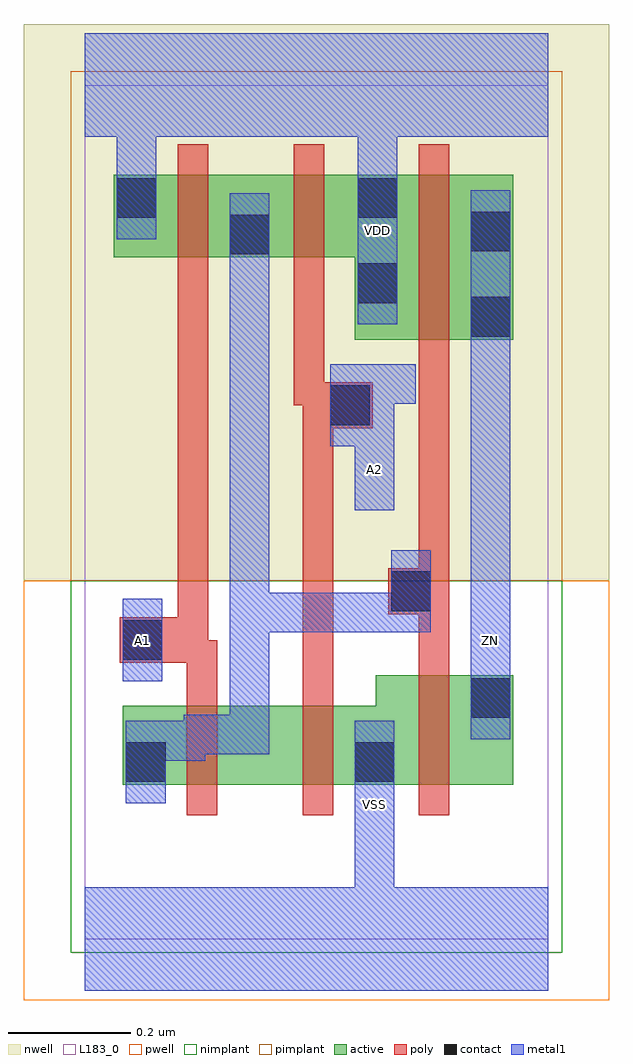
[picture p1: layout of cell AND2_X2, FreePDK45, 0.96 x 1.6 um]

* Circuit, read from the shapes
.subckt AND2_X2 A1 A2 VDD VSS ZN
M1 n1 A1 n2 VSUBS nfet w=0.13u l=0.05u
M2 VSS A2 n1 VSUBS nfet w=0.13u l=0.05u
M3 ZN n2 VSS VSUBS nfet w=0.18u l=0.05u
M4 n2 A1 VDD n3 pfet w=0.135u l=0.05u
M5 VDD A2 n2 n3 pfet w=0.135u l=0.05u
M6 ZN n2 VDD n3 pfet w=0.27u l=0.05u
.ends

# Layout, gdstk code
import gdstk
lib = gdstk.Library(unit=1e-6, precision=1e-10)
def R(c, l, rs):  # rectangles x0, y0, x1, y1
    for r in rs: c.add(gdstk.rectangle(r[:2], r[2:], *l))
def P(c, l, *ps):  # polygons
    for p in ps: c.add(gdstk.Polygon(p, *l))
active = (1, 0)
pwell = (2, 0)
nwell = (3, 0)
nimplant = (4, 0)
pimplant = (5, 0)
poly = (9, 0)
contact = (10, 0)
metal1 = (11, 0)
L183_0 = (183, 0)

and2_x2 = lib.new_cell('AND2_X2')
P(and2_x2, active, [(0.0625,0.2525),(0.1675,0.2525),(0.2175,0.2525),(0.3575,0.2525),(0.4075,0.2525),(0.5475,0.2525),(0.5975,0.2525),(0.7025,0.2525),(0.7025,0.4325),(0.5975,0.4325),(0.5475,0.4325),(0.4775,0.4325),(0.4775,0.3825),(0.4075,0.3825),(0.3575,0.3825),(0.2175,0.3825),(0.1675,0.3825),(0.0625,0.3825)],
  [(0.0475,1.1175),(0.1525,1.1175),(0.2025,1.1175),(0.3425,1.1175),(0.3925,1.1175),(0.4425,1.1175),(0.4425,0.9825),(0.5475,0.9825),(0.5975,0.9825),(0.7025,0.9825),(0.7025,1.2525),(0.5975,1.2525),(0.5475,1.2525),(0.3925,1.2525),(0.3425,1.2525),(0.2025,1.2525),(0.1525,1.2525),(0.0475,1.2525)])
P(and2_x2, pwell, [(-0.1,-0.1),(0.86,-0.1),(0.86,0.5875),(0.66,0.5875),(0.1,0.5875),(-0.1,0.5875)])
P(and2_x2, nwell, [(-0.1,0.5875),(0.1,0.5875),(0.66,0.5875),(0.86,0.5875),(0.86,1.5),(-0.1,1.5)])
R(and2_x2, nimplant, [(-0.0225,-0.0225,0.7825,0.5875)])
R(and2_x2, pimplant, [(-0.0225,0.5875,0.7825,1.4225)])
P(and2_x2, poly, [(0.0575,0.4525),(0.1675,0.4525),(0.1675,0.3825),(0.1675,0.2525),(0.1675,0.2025),(0.2175,0.2025),(0.2175,0.2525),(0.2175,0.3825),(0.2175,0.49),(0.2025,0.49),(0.2025,1.1175),(0.2025,1.2525),(0.2025,1.3025),(0.1525,1.3025),(0.1525,1.2525),(0.1525,1.1175),(0.1525,0.5275),(0.0575,0.5275)],
  [(0.3425,0.875),(0.3575,0.875),(0.3575,0.3825),(0.3575,0.2525),(0.3575,0.2025),(0.4075,0.2025),(0.4075,0.2525),(0.4075,0.3825),(0.4075,0.8375),(0.4725,0.8375),(0.4725,0.9125),(0.3925,0.9125),(0.3925,1.1175),(0.3925,1.2525),(0.3925,1.3025),(0.3425,1.3025),(0.3425,1.2525),(0.3425,1.1175)],
  [(0.4975,0.5325),(0.5475,0.5325),(0.5475,0.4325),(0.5475,0.2525),(0.5475,0.2025),(0.5975,0.2025),(0.5975,0.2525),(0.5975,0.4325),(0.5975,0.9825),(0.5975,1.2525),(0.5975,1.3025),(0.5475,1.3025),(0.5475,1.2525),(0.5475,0.9825),(0.5475,0.6075),(0.4975,0.6075)])
R(and2_x2, contact, [(0.0675,0.2575,0.1325,0.3225), (0.4425,0.2575,0.5075,0.3225), (0.6325,0.3625,0.6975,0.4275), (0.0625,0.4575,0.1275,0.5225), (0.5025,0.5375,0.5675,0.6025), (0.4025,0.8425,0.4675,0.9075), (0.6325,0.9875,0.6975,1.0525), (0.4475,1.0425,0.5125,1.1075), (0.2375,1.1225,0.3025,1.1875), (0.6325,1.1275,0.6975,1.1925), (0.0525,1.1825,0.1175,1.2475), (0.4475,1.1825,0.5125,1.2475)])
R(and2_x2, metal1, [(0.6325,0.3275,0.6975,1.2275), (0.0625,0.4225,0.1275,0.5575)])
P(and2_x2, metal1, [(0,-0.085),(0.76,-0.085),(0.76,0.085),(0.5075,0.085),(0.5075,0.3575),(0.4425,0.3575),(0.4425,0.085),(0,0.085)],
  [(0,1.315),(0.0525,1.315),(0.0525,1.1475),(0.1175,1.1475),(0.1175,1.315),(0.4475,1.315),(0.4475,1.0075),(0.5125,1.0075),(0.5125,1.315),(0.76,1.315),(0.76,1.485),(0,1.485)],
  [(0.4025,0.8075),(0.4425,0.8075),(0.4425,0.7025),(0.5075,0.7025),(0.5075,0.8775),(0.5425,0.8775),(0.5425,0.9425),(0.4025,0.9425)],
  [(0.0675,0.2225),(0.1325,0.2225),(0.1325,0.2925),(0.1975,0.2925),(0.1975,0.3025),(0.3025,0.3025),(0.3025,0.5025),(0.5675,0.5025),(0.5675,0.6375),(0.5025,0.6375),(0.5025,0.5675),(0.3025,0.5675),(0.3025,1.2225),(0.2375,1.2225),(0.2375,0.3675),(0.1625,0.3675),(0.1625,0.3575),(0.0675,0.3575)])
R(and2_x2, L183_0, [(0,0,0.76,1.4)])
and2_x2.add(gdstk.Label('A1', (0.095,0.49), layer=11, texttype=0))
and2_x2.add(gdstk.Label('A2', (0.475,0.77), layer=11, texttype=0))
and2_x2.add(gdstk.Label('VDD', (0.48,1.1612), layer=11, texttype=0))
and2_x2.add(gdstk.Label('VSS', (0.475,0.2212), layer=11, texttype=0))
and2_x2.add(gdstk.Label('ZN', (0.665,0.49), layer=11, texttype=0))

lib.write_gds('AND2_X2.gds')
